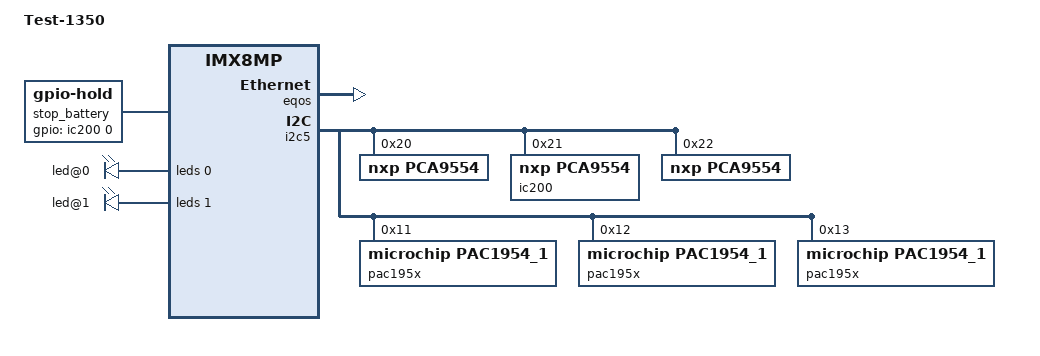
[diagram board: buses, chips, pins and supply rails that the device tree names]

/*
 * Copyright 2024 Bruetsch Elektronik AG
 */

#include <dt-bindings/leds/common.h>
#include "imx8mp-pilatus-plus.dts"

/delete-node/ &gpio_hold;

/ {
	
model = "Test-1350";

stop_battery: gpio-hold {
  compatible = "gpio-hold";
  gpio = <&ic200 0 GPIO_ACTIVE_HIGH>;
  status = "okay";
};

};


&eqos {
	status = "okay";
};

&ethphy0 {
	leds {
		#address-cells = <1>;
		#size-cells = <0>;

		led@0 {
			reg = <0>;
			color = <LED_COLOR_ID_YELLOW>;
			function = LED_FUNCTION_LAN;
			linux,default-trigger = "netdev";
		};

		led@1 {
			reg = <1>;
			color = <LED_COLOR_ID_GREEN>;
			function = LED_FUNCTION_LAN;
			linux,default-trigger = "netdev";
		};
	};
};


&i2c5 {

	pca9554@20 {
		compatible = "nxp,pca9554";
		reg = <0x20>;
		gpio-controller;
		#gpio-cells = <2>;
	};

	ic200: pca9554@21 {
		compatible = "nxp,pca9554";
		reg = <0x21>;
		gpio-controller;
		#gpio-cells = <2>;
	};

	pca9554@22 {
		compatible = "nxp,pca9554";
		reg = <0x22>;
		gpio-controller;
		#gpio-cells = <2>;
	};

	pac195x@11 {
		compatible = "microchip,pac1954_1";
		reg = <0x11>;

		#address-cells = <1>;
		#size-cells = <0>;

		microchip,samp-rate = "64";
		status = "okay";

		ch21: channel1@1 {
		    reg = <0x1>;
		    microchip,uohms-shunt-res = <0>;
		    microchip,rail-name = "3V3_EXT";
		    microchip,vbus-mode = <0>;
		    microchip,vsense-mode = <0>;
		    microchip,accumulation-mode = <0>;
		};

		ch22: channel2@2 {
		    reg = <0x2>;
		    microchip,uohms-shunt-res = <0>;
		    microchip,rail-name = "PMIC_3V3";
		    microchip,vbus-mode = <0>;
		    microchip,vsense-mode = <0>;
		    microchip,accumulation-mode = <0>;
		};

		ch23: channel3@3 {
		    reg = <0x3>;
		    microchip,uohms-shunt-res = <0>;
		    microchip,rail-name = "5V0_EXT";
		    microchip,vbus-mode = <0>;
		    microchip,vsense-mode = <0>;
		    microchip,accumulation-mode = <0>;
		};

		ch24: channel4@4 {
		    reg = <0x4>;
		    microchip,uohms-shunt-res = <0>;
		    microchip,rail-name = "1V8_EXT";
		    microchip,vbus-mode = <0>;
		    microchip,vsense-mode = <0>;
		    microchip,accumulation-mode = <0>;
		};
	};

	pac195x@12 {
		compatible = "microchip,pac1954_1";
		reg = <0x12>;

		#address-cells = <1>;
		#size-cells = <0>;

		microchip,samp-rate = "64";
		status = "okay";

		ch31: channel1@1 {
		    reg = <0x1>;
		    microchip,uohms-shunt-res = <0>;
		    microchip,rail-name = "-5V0";
		    microchip,vbus-mode = <0>;
		    microchip,vsense-mode = <0>;
		    microchip,accumulation-mode = <0>;
		};

		ch32: channel2@2 {
		    reg = <0x2>;
		    microchip,uohms-shunt-res = <0>;
		    microchip,rail-name = "V_SYS";
		    microchip,vbus-mode = <0>;
		    microchip,vsense-mode = <0>;
		    microchip,accumulation-mode = <0>;
		};

		ch33: channel3@3 {
		    reg = <0x3>;
		    microchip,uohms-shunt-res = <100000>;
		    microchip,rail-name = "BL";
		    microchip,vbus-mode = <0>;
		    microchip,vsense-mode = <0>;
		    microchip,accumulation-mode = <0>;
		};

		ch34: channel4@4 {
		    reg = <0x4>;
		    microchip,uohms-shunt-res = <0>;
		    microchip,rail-name = "FLOAT";
		    microchip,vbus-mode = <0>;
		    microchip,vsense-mode = <0>;
		    microchip,accumulation-mode = <0>;
		};
	};

	pac195x@13 {
		compatible = "microchip,pac1954_1";
		reg = <0x13>;

		#address-cells = <1>;
		#size-cells = <0>;

		microchip,samp-rate = "64";
		status = "okay";

		ch41: channel1@1 {
		    reg = <0x1>;
		    microchip,uohms-shunt-res = <100000>;
		    microchip,rail-name = "12V_DUT";
		    microchip,vbus-mode = <0>;
		    microchip,vsense-mode = <0>;
		    microchip,accumulation-mode = <0>;
		};

		ch42: channel2@2 {
		    reg = <0x2>;
		    microchip,uohms-shunt-res = <100000>;
		    microchip,rail-name = "SENSE2";
		    microchip,vbus-mode = <0>;
		    microchip,vsense-mode = <0>;
		    microchip,accumulation-mode = <0>;
		};

		ch43: channel3@3 {
		    reg = <0x3>;
		    microchip,uohms-shunt-res = <100000>;
		    microchip,rail-name = "SENS3";
		    microchip,vbus-mode = <0>;
		    microchip,vsense-mode = <0>;
		    microchip,accumulation-mode = <0>;
		};

		ch44: channel4@4 {
		    reg = <0x4>;
		    microchip,uohms-shunt-res = <100000>;
		    microchip,rail-name = "SENS4";
		    microchip,vbus-mode = <0>;
		    microchip,vsense-mode = <0>;
		    microchip,accumulation-mode = <0>;
		};
	};
};
